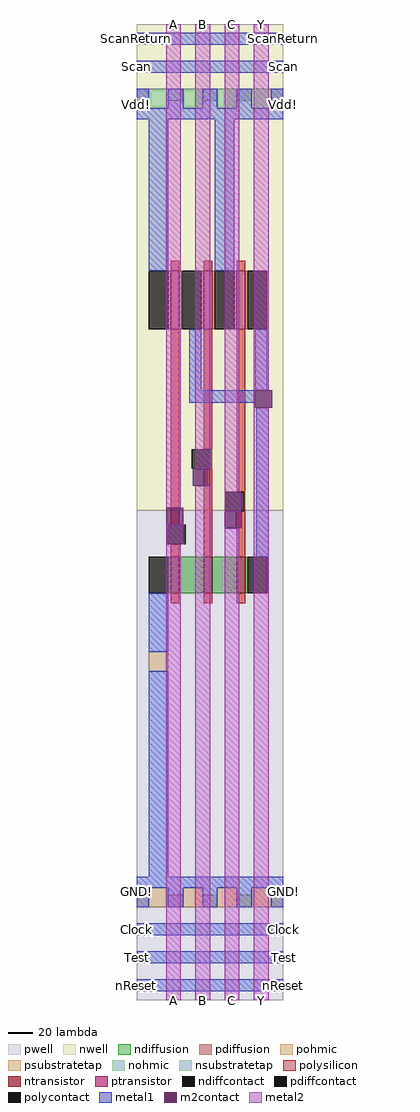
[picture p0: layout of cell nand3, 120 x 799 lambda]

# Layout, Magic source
magic
tech c035u
<< nwell >>
rect 0 401 120 799
<< pwell >>
rect 0 0 120 401
<< polysilicon >>
rect 28 597 35 605
rect 55 597 62 605
rect 82 597 89 605
rect 28 389 35 549
rect 55 451 62 549
rect 61 435 62 451
rect 28 363 35 373
rect 55 363 62 435
rect 82 416 89 549
rect 88 400 89 416
rect 81 386 89 400
rect 82 363 89 386
rect 28 325 35 333
rect 55 325 62 333
rect 82 325 89 333
<< ndiffusion >>
rect 26 333 28 363
rect 35 333 55 363
rect 62 333 82 363
rect 89 333 91 363
<< pdiffusion >>
rect 26 549 28 597
rect 35 549 37 597
rect 53 549 55 597
rect 62 549 64 597
rect 80 549 82 597
rect 89 549 91 597
<< pohmic >>
rect 0 76 10 86
rect 26 76 38 86
rect 54 76 66 86
rect 82 76 94 86
rect 110 76 120 86
<< nohmic >>
rect 0 736 10 746
rect 26 736 38 746
rect 54 736 66 746
rect 82 736 94 746
rect 110 736 120 746
<< ntransistor >>
rect 28 333 35 363
rect 55 333 62 363
rect 82 333 89 363
<< ptransistor >>
rect 28 549 35 597
rect 55 549 62 597
rect 82 549 89 597
<< polycontact >>
rect 45 435 61 451
rect 24 373 40 389
rect 72 400 88 416
<< ndiffcontact >>
rect 10 333 26 363
rect 91 333 107 363
<< pdiffcontact >>
rect 10 549 26 597
rect 37 549 53 597
rect 64 549 80 597
rect 91 549 107 597
<< psubstratetap >>
rect 10 269 26 285
rect 10 76 26 92
rect 38 76 54 92
rect 66 76 82 92
rect 94 76 110 92
<< nsubstratetap >>
rect 10 730 26 746
rect 38 730 54 746
rect 66 730 82 746
rect 94 730 110 746
<< metal1 >>
rect 0 782 120 792
rect 0 759 120 769
rect 0 730 10 746
rect 26 730 38 746
rect 54 730 66 746
rect 82 730 94 746
rect 110 730 120 746
rect 0 721 120 730
rect 10 597 26 721
rect 64 597 80 721
rect 43 499 53 549
rect 97 499 107 549
rect 43 489 97 499
rect 98 363 108 485
rect 107 333 108 363
rect 10 285 26 333
rect 10 101 26 269
rect 0 92 120 101
rect 0 76 10 92
rect 26 76 38 92
rect 54 76 66 92
rect 82 76 94 92
rect 110 76 120 92
rect 0 53 120 63
rect 0 30 120 40
rect 0 7 120 17
<< m2contact >>
rect 97 485 111 499
rect 46 421 60 435
rect 24 389 38 403
rect 72 386 86 400
<< metal2 >>
rect 24 597 36 799
rect 24 549 37 597
rect 24 403 36 549
rect 48 451 60 799
rect 48 435 61 451
rect 24 373 38 389
rect 24 0 36 373
rect 48 0 60 421
rect 72 416 84 799
rect 96 499 108 799
rect 96 485 97 499
rect 72 400 85 416
rect 72 0 84 386
rect 96 0 108 485
<< labels >>
rlabel metal1 0 721 0 746 3 Vdd!
rlabel metal1 0 759 0 769 3 Scan
rlabel metal1 0 782 0 792 4 ScanReturn
rlabel metal1 120 721 120 746 7 Vdd!
rlabel metal1 120 759 120 769 7 Scan
rlabel metal1 120 782 120 792 6 ScanReturn
rlabel metal2 24 799 36 799 5 A
rlabel metal2 48 799 60 799 5 B
rlabel metal2 72 799 84 799 5 C
rlabel metal2 96 799 108 799 5 Y
rlabel metal2 48 0 60 0 1 B
rlabel metal2 24 0 36 0 1 A
rlabel metal2 72 0 84 0 1 C
rlabel metal2 96 0 108 0 1 Y
rlabel metal1 0 53 0 63 3 Clock
rlabel metal1 0 30 0 40 3 Test
rlabel metal1 0 7 0 17 2 nReset
rlabel metal1 0 76 0 101 3 GND!
rlabel metal1 120 7 120 17 7 nReset
rlabel metal1 120 30 120 40 7 Test
rlabel metal1 120 53 120 63 7 Clock
rlabel metal1 120 76 120 101 7 GND!
<< end >>
